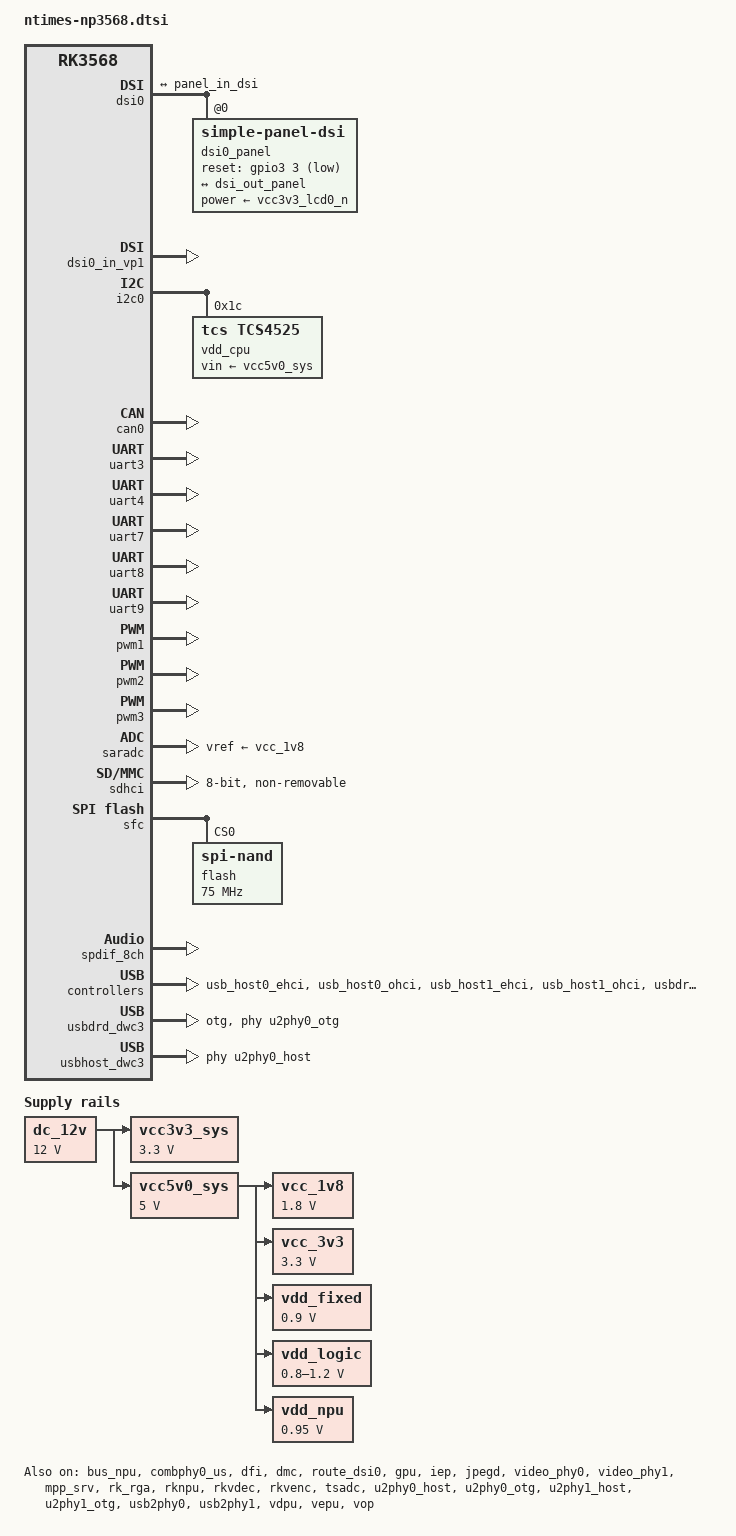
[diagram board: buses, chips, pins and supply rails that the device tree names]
// SPDX-License-Identifier: (GPL-2.0+ OR MIT)
/*
 * Copyright (c) 2020 Rockchip Electronics Co., Ltd.
 *
 */

#include "rk3568.dtsi"
#include <dt-bindings/gpio/gpio.h>
#include <dt-bindings/pinctrl/rockchip.h>
#include <dt-bindings/input/rk-input.h>
#include <dt-bindings/display/drm_mipi_dsi.h>
#include <dt-bindings/sensor-dev.h>

/ {
#if 0
	adc_keys: adc-keys {
		compatible = "adc-keys";
		io-channels = <&saradc 0>;
		io-channel-names = "buttons";
		keyup-threshold-microvolt = <1800000>;
		poll-interval = <100>;

		vol-up-key {
			label = "volume up";
			linux,code = <KEY_VOLUMEUP>;
			press-threshold-microvolt = <1750>;
		};

		vol-down-key {
			label = "volume down";
			linux,code = <KEY_VOLUMEDOWN>;
			press-threshold-microvolt = <297500>;
		};
	};
#endif
	dc_12v: dc-12v {
		compatible = "regulator-fixed";
		regulator-name = "dc_12v";
		regulator-always-on;
		regulator-boot-on;
		regulator-min-microvolt = <12000000>;
		regulator-max-microvolt = <12000000>;
	};

	reserved-memory {
		#address-cells = <2>;
		#size-cells = <2>;
		ranges;

		rknpu_reserved: rknpu {
			compatible = "shared-dma-pool";
			inactive;
			reusable;
			size = <0x0 0x20000000>;
			alignment = <0x0 0x1000>;
		};
	};

	spdif-sound {
		status = "disabled";
		compatible = "simple-audio-card";
		simple-audio-card,name = "ROCKCHIP,SPDIF";
		simple-audio-card,mclk-fs = <128>;
		simple-audio-card,cpu {
				sound-dai = <&spdif_8ch>;
		};
		simple-audio-card,codec {
				sound-dai = <&spdif_out>;
		};
	};

	spdif_out: spdif-out {
			status = "disabled";
			compatible = "linux,spdif-dit";
			#sound-dai-cells = <0>;
	};

	vcc3v3_sys: vcc3v3-sys {
		compatible = "regulator-fixed";
		regulator-name = "vcc3v3_sys";
		regulator-always-on;
		regulator-boot-on;
		regulator-min-microvolt = <3300000>;
		regulator-max-microvolt = <3300000>;
		vin-supply = <&dc_12v>;
	};

	vcc5v0_sys: vcc5v0-sys {
		compatible = "regulator-fixed";
		regulator-name = "vcc5v0_sys";
		regulator-always-on;
		regulator-boot-on;
		regulator-min-microvolt = <5000000>;
		regulator-max-microvolt = <5000000>;
		vin-supply = <&dc_12v>;
	};
#if 0
	vcc5v0_host: vcc5v0-host-regulator {
		compatible = "regulator-fixed";
		enable-active-high;
		gpio = <&gpio0 RK_PA5 GPIO_ACTIVE_HIGH>;
		pinctrl-names = "default";
		pinctrl-0 = <&vcc5v0_host_en>;
		regulator-name = "vcc5v0_host";
		regulator-always-on;
	};
#endif
	vcc_1v8: vcc_1v8 {
		compatible = "regulator-fixed";
		regulator-name = "vcc_1v8";
		regulator-always-on;
		regulator-boot-on;
		regulator-min-microvolt = <1800000>;
		regulator-max-microvolt = <1800000>;
		vin-supply = <&vcc5v0_sys>;
	};

	vcc_3v3: vcc_3v3{
		compatible = "regulator-fixed";
		regulator-name = "vcc_3v3";
		regulator-always-on;
		regulator-boot-on;
		regulator-min-microvolt = <3300000>;
		regulator-max-microvolt = <3300000>;
		vin-supply = <&vcc5v0_sys>;
	};

	vdd_fixed: vdd-fixed {
		compatible = "regulator-fixed";
		regulator-name = "vdd_fixed";
		regulator-min-microvolt = <900000>;
		regulator-max-microvolt = <900000>;
		regulator-always-on;
		regulator-boot-on;
		vin-supply = <&vcc5v0_sys>;
	};

	vdd_logic: vdd-logic {
		compatible = "pwm-regulator";
		pwms = <&pwm1 0 5000 1>;
		regulator-name = "vdd_logic";
		regulator-min-microvolt = <800000>;
		regulator-max-microvolt = <1200000>;
		regulator-init-microvolt = <900000>;
		regulator-always-on;
		regulator-boot-on;
		regulator-settling-time-up-us = <250>;
		pwm-supply = <&vcc5v0_sys>;
		status = "okay";
	};

	vdd_npu: vdd-npu {
		compatible = "pwm-regulator";
		pwms = <&pwm2 0 5000 1>;
		regulator-name = "vdd_npu";
		regulator-min-microvolt = <950000>;
		regulator-max-microvolt = <950000>;
		regulator-init-microvolt = <950000>;
		regulator-always-on;
		regulator-boot-on;
		regulator-settling-time-up-us = <250>;
		pwm-supply = <&vcc5v0_sys>;
		status = "okay";
	};

};

&rockchip_suspend {
        status = "okay";
        rockchip,sleep-debug-en = <1>;
};

&bus_npu {
	bus-supply = <&vdd_logic>;
	pvtm-supply = <&vdd_cpu>;
	status = "okay";
};

&combphy0_us {
	rockchip,dis-u3otg0-port;
	status = "okay";
};

&cpu0 {
	cpu-supply = <&vdd_cpu>;
};

&cpu0_opp_table {
	/delete-node/ opp-1992000000;
};

&CPU_SLEEP {
	status = "disabled";
};

&dfi {
    status = "okay";
};

&dmc {
    center-supply = <&vdd_logic>;
    status = "okay";
};

&dsi0 {
	status = "okay";
	//rockchip,lane-rate = <1000>;
	dsi0_panel: panel@0 {
		status = "okay";
		compatible = "simple-panel-dsi";
		reg = <0>;
		//backlight = <&backlight>;
		reset-gpios = <&gpio3 3 GPIO_ACTIVE_LOW>;
		reset-delay-ms = <60>;
		enable-delay-ms = <60>;
		prepare-delay-ms = <60>;
		unprepare-delay-ms = <60>;
		disable-delay-ms = <60>;
		dsi,flags = <(MIPI_DSI_MODE_VIDEO | MIPI_DSI_MODE_VIDEO_BURST |
			MIPI_DSI_MODE_LPM | MIPI_DSI_MODE_EOT_PACKET)>;
		dsi,format = <MIPI_DSI_FMT_RGB888>;
		dsi,lanes  = <2>;
		panel-init-sequence = [
			39 01 06 FF 77 01 00 00 10
			39 01 03 C0 3B 00
			39 01 03 C1 10 0C
			39 01 03 C2 07 0A
			15 01 02 C7 04
			15 01 02 CC 10
			39 01 11 B0 05 12 98 0E 0F 07 07 09 09 23 05 52 0F 67 2C 11
			39 01 11 B1 0B 11 97 0C 12 06 06 08 08 22 03 51 11 66 2B 0F
			39 01 06 FF 77 01 00 00 11
			15 01 02 B0 5D
			15 01 02 B1 35
			15 01 02 B2 81
			15 01 02 B3 80
			15 01 02 B5 4E
			15 01 02 B7 85
			15 01 02 B8 20
			15 01 02 C1 78
			15 01 02 C2 78
			15 01 02 D0 88
			39 01 04 E0 00 00 02
			39 01 0C E1 06 30 08 30 05 30 07 30 00 33 33
			39 01 0D E2 11 11 33 33 F4 00 00 00 F4 00 00 00
			39 01 05 E3 00 00 11 11
			39 01 03 E4 44 44
			39 01 11 E5 0D F5 30 F0 0F F7 30 F0 09 F1 30 F0 0B F3 30 F0
			39 01 05 E6 00 00 11 11
			39 01 03 E7 44 44
			39 01 11 E8 0C F4 30 F0 0E F6 30 F0 08 F0 30 F0 0A F2 30 F0
			39 01 03 E9 36 01
			39 01 08 EB 00 01 E4 E4 44 88 40
			39 01 11 ED FF 10 BF 76 54 2A FC FF FF CF A2 45 67 FB 01 FF
			39 01 07 EF 08 08 08 45 3F 54
			39 01 06 FF 77 01 00 00 10
			15 01 02 36 10
			05 78 01 11
			05 1E 01 29
		];

		panel-exit-sequence = [
			05 00 01 28
			05 00 01 10
		];

		disp_timings0: display-timings {
			native-mode = <&dsi0_timing0>;
			dsi0_timing0: timing0 {
				clock-frequency = <16500000>;
				hactive = <480>;
				vactive = <480>;
				hfront-porch = <30>;
				hsync-len = <8>;
				hback-porch = <30>;
				vfront-porch = <10>;
				vsync-len = <2>;
				vback-porch = <10>;
				hsync-active = <0>;
				vsync-active = <0>;
				de-active = <0>;
				pixelclk-active = <1>;
			};
		};

		ports {
			#address-cells = <1>;
			#size-cells = <0>;

			port@0 {
				reg = <0>;
				panel_in_dsi: endpoint {
					remote-endpoint = <&dsi_out_panel>;
				};
			};
		};
	};

	ports {
		#address-cells = <1>;
		#size-cells = <0>;

		port@1 {
			reg = <1>;
			dsi_out_panel: endpoint {
				remote-endpoint = <&panel_in_dsi>;
			};
		};
	};

};

&route_dsi0 {
	status = "okay";
	connect = <&vp1_out_dsi0>;
};

&dsi0_in_vp0 {
	status = "disabled";
};

&dsi0_in_vp1 {
	status = "okay";
};

&dsi0_panel {
	power-supply = <&vcc3v3_lcd0_n>;
};

&gpu {
	mali-supply = <&vdd_fixed>;
	status = "okay";
};

&gpu_opp_table {
	/delete-node/ opp-800000000;
};

&i2c0 {
	status = "okay";

	vdd_cpu: tcs4525@1c {
		compatible = "tcs,tcs4525";
		reg = <0x1c>;
		vin-supply = <&vcc5v0_sys>;
		regulator-compatible = "fan53555-reg";
		regulator-name = "vdd_cpu";
		regulator-min-microvolt = <712500>;
		regulator-max-microvolt = <1390000>;
		regulator-init-microvolt = <900000>;
		regulator-ramp-delay = <2300>;
		fcs,suspend-voltage-selector = <1>;
		regulator-boot-on;
		regulator-always-on;
		regulator-state-mem {
			regulator-off-in-suspend;
		};
	};
};

&i2s0_8ch {
	status = "disabled";
};
#if 0
&i2s1_8ch {
	status = "disabled";
	rockchip,clk-trcm = <1>;
	pinctrl-names = "default";
	pinctrl-0 = <&i2s1m0_sclktx
		     &i2s1m0_lrcktx
		     &i2s1m0_sdi0
		     &i2s1m0_sdo0>;
};
#endif
&iep {
	status = "okay";
};

&iep_mmu {
	status = "okay";
};

&jpegd {
	status = "okay";
};

&jpegd_mmu {
	status = "okay";
};

&video_phy0 {
	status = "okay";
};

&video_phy1 {
	status = "okay";
};

&mpp_srv {
	status = "okay";
};

/* Need to be modified according to the actual hardware */
&pmu_io_domains {
	status = "okay";
	pmuio2-supply = <&vcc_3v3>;
	vccio1-supply = <&vcc_3v3>;
	vccio3-supply = <&vcc_3v3>;
	vccio4-supply = <&vcc_1v8>;
	vccio5-supply = <&vcc_3v3>;
	vccio6-supply = <&vcc_1v8>;
	vccio7-supply = <&vcc_3v3>;
};

&can0 {
	compatible = "rockchip,can-1.0";
    assigned-clocks = <&cru CLK_CAN0>;
    assigned-clock-rates = <100000000>;
    pinctrl-names = "default";
    pinctrl-0 = <&can0m1_pins>;
    status = "okay";
};

&uart3 {
    status = "okay";
    pinctrl-names = "default";
    pinctrl-0 = <&uart3m0_xfer>;
};

&uart4 {
    status = "okay";
    pinctrl-names = "default";
    pinctrl-0 = <&uart4m1_xfer>;
};

&uart7 {
    status = "okay";
    pinctrl-names = "default";
    pinctrl-0 = <&uart7m1_xfer>;
};

&uart8 {
    status = "okay";
    pinctrl-names = "default";
    pinctrl-0 = <&uart8m0_xfer &uart8m0_ctsn>;
};

&uart9 {
    status = "okay";
    pinctrl-names = "default";
    pinctrl-0 = <&uart9m1_xfer>;
};

&pwm1 {
	status = "okay";
	pinctrl-names = "active";
};

&pwm2 {
	status = "okay";
	pinctrl-names = "active";
	pinctrl-0 = <&pwm2m1_pins>;
};

&pwm3 {
	status = "okay";
	pinctrl-names = "active";
};

&rk_rga {
	status = "okay";
};

&rknpu {
	memory-region = <&rknpu_reserved>;
	rknpu-supply = <&vdd_npu>;
	status = "okay";
};

&rknpu_mmu {
	status = "disabled";
};

&rkvdec {
	rockchip,disable-auto-freq;
	assigned-clock-rates = <396000000>, <396000000>, <396000000>, <600000000>;
	status = "okay";
};

&rkvdec_mmu {
	status = "okay";
};

&rkvdec_sram {
	reg = <0x0 0x10000>;
};

&rkvenc {
	status = "okay";
};

&rkvenc_mmu {
	status = "okay";
};

&saradc {
	status = "okay";
	vref-supply = <&vcc_1v8>;
};

&sdhci {
	bus-width = <8>;
	no-sdio;
	no-sd;
	non-removable;
	status = "okay";
};

&sfc {
	status = "okay";

	flash@0 {
		compatible = "spi-nand";
		reg = <0>;
		spi-max-frequency = <75000000>;
		spi-rx-bus-width = <4>;
		spi-tx-bus-width = <1>;
	};
};

&spdif_8ch {
	status = "okay";
};

&sram {
	reg = <0x0 0xfdcc0000 0x0 0x10000>;
	ranges = <0x0 0x0 0xfdcc0000 0x10000>;
};

&tsadc {
	status = "okay";
};

&u2phy0_host {
	status = "okay";
};

&u2phy0_otg {
	status = "okay";
};

&u2phy1_host {
	status = "okay";
};

&u2phy1_otg {
	status = "okay";
};

&usb2phy0 {
	status = "okay";
};

&usb2phy1 {
	status = "okay";
};

&usb_host0_ehci {
	status = "okay";
};

&usb_host0_ohci {
	status = "okay";
};

&usb_host1_ehci {
	status = "okay";
};

&usb_host1_ohci {
	status = "okay";
};

&usbdrd_dwc3 {
	dr_mode = "otg";
	phys = <&u2phy0_otg>;
	phy-names = "usb2-phy";
	extcon = <&usb2phy0>;
	maximum-speed = "high-speed";
	snps,dis_u2_susphy_quirk;
	status = "okay";
};

&usbdrd30 {
	status = "okay";
};

&usbhost_dwc3 {
	phys = <&u2phy0_host>;
	phy-names = "usb2-phy";
	maximum-speed = "high-speed";
	status = "okay";
};

&usbhost30 {
	status = "okay";
};

&vdpu {
	status = "okay";
};

&vdpu_mmu {
	status = "okay";
};

&vepu {
	status = "okay";
};

&vepu_mmu {
	status = "okay";
};

&vop {
	status = "okay";
	assigned-clocks = <&cru DCLK_VOP1>;
	assigned-clock-parents = <&cru PLL_VPLL>;
};

&vop_mmu {
	status = "okay";
};

&pinctrl {
#if 0
	usb {
		vcc5v0_host_en: vcc5v0-host-en {
			rockchip,pins = <0 RK_PA5 RK_FUNC_GPIO &pcfg_pull_none>;
		};
	};
#endif
};
